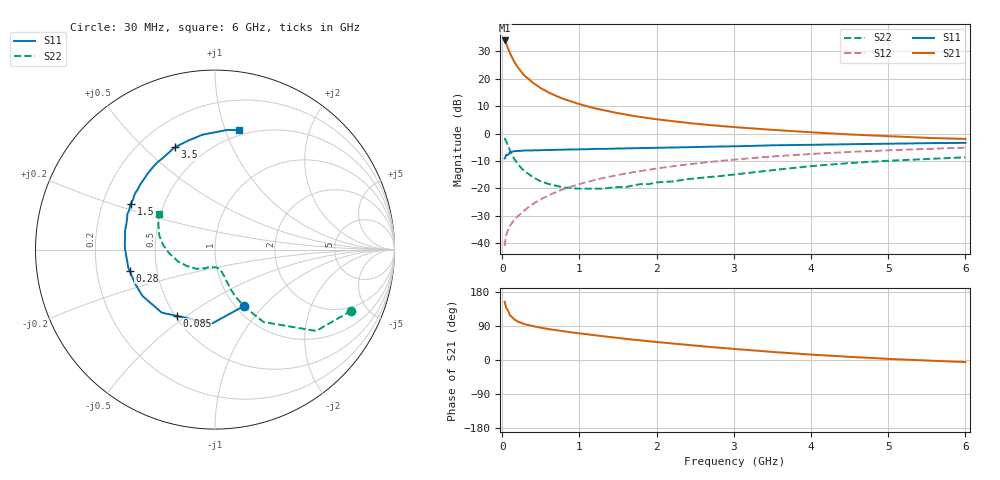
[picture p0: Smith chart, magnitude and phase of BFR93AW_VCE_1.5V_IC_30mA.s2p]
! Infineon Technologies  Discrete & RF Semiconductors
! BFR93AW
! VCE =  1.5 V,  IC =  30 mA
! Common Emitter S-Parameters:  Nov 2015
# GHz  S  MA  R  50
!  f  S11  S21  S12  S22
! GHz  MAG  ANG  MAG  ANG  MAG  ANG  MAG  ANG
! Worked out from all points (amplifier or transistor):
!   206 points, 30 MHz to 6 GHz, reference 50 ohm
!   highest |S21| = 33.9 dB at 30 MHz (marker M1)
!   |S21| within 3 dB of that: start of sweep to 76.81 MHz
!   unconditionally stable (mu >= 1): 395.3 MHz to 2.48 GHz
!   at 200 MHz: K = 0.83, MSG = 27.1 dB, |S12| = -30.1 dB
!   at 1.56 GHz: K = 1.05, MAG = 9.6 dB, |S12| = -14.8 dB
!   at 6 GHz: K = 0.96, MSG = 1.6 dB, |S12| = -5.1 dB
!   S11 on the Smith chart (normalised r, x): 30 MHz: 1.09, -0.78; 85 MHz: 0.51, -0.46; 280 MHz: 0.35, -0.11; 1.5 GHz: 0.32, +0.23; 3.5 GHz: 0.34, +0.62; 6 GHz: 0.45, +1.11
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0.03  0.3533 -62.8  49.74 153.9  0.0089 71.8  0.833 -24.1
0.05  0.4121 -92.3  43.57 137.9  0.0141 65.6  0.7232 -38.8
0.085  0.4261 -119.9  32.88 125.5  0.0189 61.6  0.5509 -49.4
0.1  0.4596 -130.2  29.01 117.6  0.021 60.5  0.4857 -56.2
0.15  0.4795 -147.3  20.81 107.6  0.0265 61.1  0.3529 -63.0
0.2  0.4837 -156.5  16.12 101.4  0.0311 63.2  0.2802 -66.7
0.24  0.4854 -162.1  13.67 98.2  0.0347 65.1  0.241 -68.2
0.28  0.4904 -166.2  11.82 95.4  0.0391 66.6  0.213 -69.1
0.3  0.4935 -167.9  11 93.9  0.0414 67.3  0.2008 -69.5
0.4  0.495 -175.0  8.322 88.9  0.0525 69.2  0.1587 -70.6
0.5  0.5014 179.8  6.709 84.9  0.0638 70.9  0.135 -72.8
0.6  0.504 176.1  5.616 81.6  0.0747 71.3  0.1209 -74.0
0.7  0.5057 172.2  4.845 78.4  0.0865 71.2  0.1122 -76.6
0.8  0.5114 168.9  4.248 75.5  0.098 71.1  0.1041 -81.8
1.04  0.5164 162.0  3.313 69.2  0.125 69.8  0.0988 -89.5
1.5  0.5346 151.3  2.351 58.2  0.1765 66.5  0.1064 -107.6
2.02  0.5517 139.3  1.809 47.0  0.2331 61.5  0.1298 -124.7
3.1  0.5904 118.4  1.284 27.7  0.3449 50.0  0.1861 -152.0
3.5  0.6125 111.5  1.171 21.2  0.3837 45.6  0.2163 -162.2
4.1  0.6288 101.9  1.037 13.1  0.4333 38.5  0.2621 -177.5
5.1  0.6565 88.7  0.885 2.1  0.5024 27.7  0.3245 163.7
6  0.6783 78.8  0.799 -5.5  0.5556 18.6  0.3696 147.6
